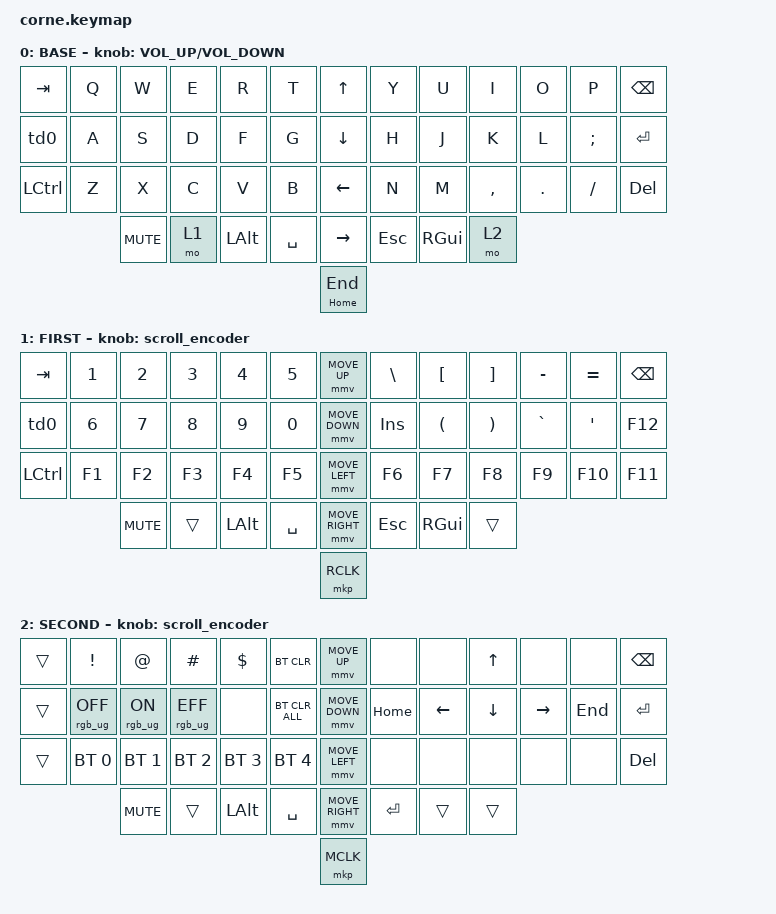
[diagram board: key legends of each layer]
#include <behaviors/mouse_keys.dtsi>
#include <behaviors.dtsi>
#include <dt-bindings/zmk/bt.h>
#include <dt-bindings/zmk/keys.h>
#include <dt-bindings/zmk/mouse.h>
#include <dt-bindings/zmk/outputs.h>
#include <dt-bindings/zmk/rgb.h>

#define ZMK_MOUSE_DEFAULT_MOVE_VAL 1200  // 600
#define ZMK_MOUSE_DEFAULT_SCRL_VAL 20    // 10
#define U_MS_U &mmv MOVE_UP
#define U_MS_D &mmv MOVE_DOWN
#define U_MS_L &mmv MOVE_LEFT
#define U_MS_R &mmv MOVE_RIGHT

/ {
    behaviors {
        td0: td0 {
            compatible = "zmk,behavior-tap-dance";
            label = "TD0";
            #binding-cells = <0>;
            bindings = <&kp RIGHT_SHIFT>, <&kp CAPS>;
        };

        mmv {
            acceleration-exponent = <1>;      // 1
            time-to-max-speed-ms = <900>;    // 40
            delay-ms = <0>;                   // 0
        };

        msc {
            acceleration-exponent = <1>;      // 0
            time-to-max-speed-ms = <400>;      // 500
            delay-ms = <0>;                   // 10
        };
    };

    rgb_encoder: rgb_encoder {
        compatible = "zmk,behavior-sensor-rotate";
        label = "RGB_ENCODER";
        #sensor-binding-cells = <0>;
        bindings = <&rgb_ug RGB_BRI>, <&rgb_ug RGB_BRD>;
    };

    scroll_encoder: scroll_encoder {
        compatible = "zmk,behavior-sensor-rotate";
        #sensor-binding-cells = <0>;
        bindings = <&msc SCRL_DOWN>, <&msc SCRL_UP>;

        tap-ms = <30>;
    };

    keymap {
        compatible = "zmk,keymap";

        default_layer {
            display-name = "BASE";

            // --------------------------------------------------------------------------------
            // |  TAB |  Q  |  W  |  E  |  R  |  T  |                ↑    |  Y  |  U   |  I  |  O  |  P  | BKSP |      &kp UP_ARROW 
            // | SHIFT |  A  |  S  |  D  |  F  |  G  |               ↓    |  H  |  J   |  K  |  L  |  ;  |  '   | 
            // | CTRL |  Z  |  X  |  C  |  V  |  B  |                ←    |  N  |  M   |  ,  |  .  |  /  | ESC  |
            //                    | GUI | LWR | SPC |                →    | ENT | RSE  | ALT |
            //                                                      enter

            bindings = <
&kp TAB      &kp Q      &kp W      &kp E             &kp R      &kp T          &kp UP_ARROW         &kp Y          &kp U     &kp I      &kp O      &kp P        &kp BSPC
&td0         &kp A      &kp S      &kp D             &kp F      &kp G          &kp DOWN_ARROW       &kp H          &kp J     &kp K      &kp L      &kp SEMI     &kp ENTER
&kp LCTRL    &kp Z      &kp X      &kp C             &kp V      &kp B          &kp LEFT_ARROW       &kp N          &kp M     &kp COMMA  &kp DOT    &kp FSLH     &kp DEL
                        &kp C_MUTE &mo 1             &kp LALT   &kp SPACE      &kp RIGHT_ARROW      &kp ESC        &kp RGUI  &mo 2
                                                                               &mt HOME END
            >;

            label = "BASE";
            sensor-bindings = <&inc_dec_kp C_VOLUME_UP C_VOLUME_DOWN>;
        };

        lower_layer {
            display-name = "FIRST";

            // -----------------------------------------------------------------------------------------
            // |  TAB |  1  |  2  |  3  |  4  |  5  |   |  6  |  7  |  8  |  9  |  0  | BKSP |
            // | BTCLR| BT1 | BT2 | BT3 | BT4 | BT5 |   | LFT | DWN |  UP | RGT |     |      |
            // | SHFT |     |     |     |     |     |   |     |     |     |     |     |      |
            //                    | GUI |     | SPC |   | ENT |     | ALT |

            bindings = <
&kp TAB    &kp N1           &kp N2          &kp N3        &kp N4        &kp N5             &mmv MOVE_UP     &kp BSLH &kp LBKT        &kp RBKT        &kp MINUS       &kp EQUAL &kp BSPC
&td0       &kp N6           &kp N7          &kp N8        &kp N9        &kp N0             &mmv MOVE_DOWN   &kp INS  &kp LPAR        &kp RPAR        &kp GRAVE       &kp SQT   &kp F12
&kp LCTRL  &kp F1           &kp F2          &kp F3        &kp F4        &kp F5             &mmv MOVE_LEFT   &kp F6   &kp F7          &kp F8          &kp F9          &kp F10   &kp F11
                            &kp C_MUTE      &trans        &kp LALT      &kp SPACE          &mmv MOVE_RIGHT  &kp ESC  &kp RGUI        &trans
                                                                                           &mkp RCLK
            >;

            label = "FIRST";
            sensor-bindings = <&scroll_encoder>;
        };

        raise_layer {
            display-name = "SECOND";

            // -----------------------------------------------------------------------------------------
            // |  TAB |  !  |  @  |  #  |  $  |  %  |   |  ^  |  &  |  *  |  (  |  )  | BKSP |
            // | CTRL |     |     |     |     |     |   |  -  |  =  |  [  |  ]  |  \  |  `   |
            // | SHFT |     |     |     |     |     |   |  _  |  +  |  {  |  }  | "|" |  ~   |
            //                    | GUI |     | SPC |   | ENT |     | ALT |

            bindings = <
&trans  &kp EXCL         &kp AT             &kp HASH          &kp DLLR         &bt BT_CLR       &mmv MOVE_UP     &none     &none     &kp UP     &none      &none     &kp BSPC
&trans  &rgb_ug RGB_OFF  &rgb_ug RGB_ON     &rgb_ug RGB_EFF   &none            &bt BT_CLR_ALL   &mmv MOVE_DOWN   &kp HOME  &kp LEFT  &kp DOWN   &kp RIGHT  &kp END   &kp ENTER
&trans  &bt BT_SEL 0     &bt BT_SEL 1       &bt BT_SEL 2      &bt BT_SEL 3     &bt BT_SEL 4     &mmv MOVE_LEFT   &none     &none     &none      &none      &none     &kp DEL
                         &kp C_MUTE         &trans            &kp LALT         &kp SPACE        &mmv MOVE_RIGHT  &kp RET   &trans    &trans
                                                                               &mkp MCLK
            >;

            label = "SECOND";
            sensor-bindings = <&scroll_encoder>;
        };
    };
};
